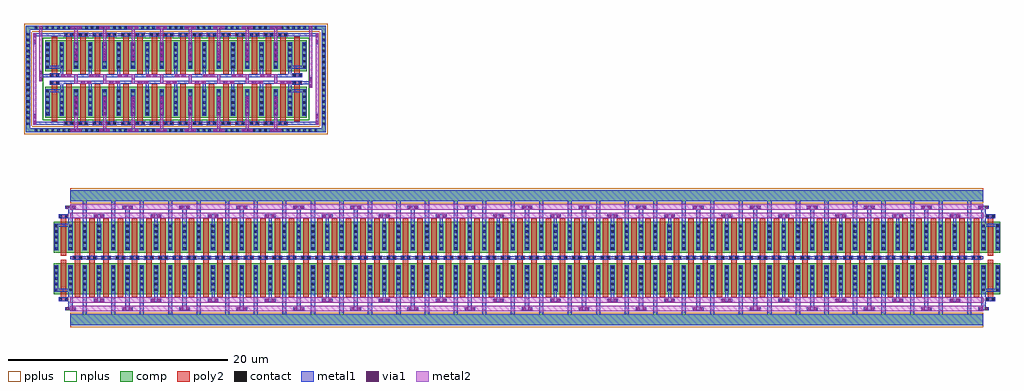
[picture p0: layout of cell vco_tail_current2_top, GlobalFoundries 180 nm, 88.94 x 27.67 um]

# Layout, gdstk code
from math import pi, radians
import gdstk
lib = gdstk.Library(unit=1e-6, precision=5e-09)
def R(c, l, rs):  # rectangles x0, y0, x1, y1
    for r in rs: c.add(gdstk.rectangle(r[:2], r[2:], *l))
def A(c, l, x, y, w, h, nx, ny, dx, dy):  # array of equal rectangles
    R(c, l, [(x+i*dx, y+j*dy, x+i*dx+w, y+j*dy+h) for i in range(nx) for j in range(ny)])
comp = (22, 0)
poly2 = (30, 0)
pplus = (31, 0)
nplus = (32, 0)
contact = (33, 0)
metal1 = (34, 0)
via1 = (35, 0)
metal2 = (36, 0)

vco_tail_current_ncell2_ = lib.new_cell('vco_tail_current_ncell2_1$2$1')
R(vco_tail_current_ncell2_, comp, [(0,0.3,0.42,3.12), (0.42,0.3,1.3,3.12), (1.3,0.3,1.72,3.12)])
R(vco_tail_current_ncell2_, poly2, [(0.61,0,1.11,3.42)])
A(vco_tail_current_ncell2_, contact, 0.1, 0.58, 0.22, 0.22, 1, 5, 0, 0.51)
A(vco_tail_current_ncell2_, contact, 1.4, 0.58, 0.22, 0.22, 1, 5, 0, 0.51)
R(vco_tail_current_ncell2_, metal1, [(0.02,0.5,0.4,2.92), (1.32,0.5,1.7,2.92)])

c_vco_tail_current_ncell2_ = lib.new_cell('vco_tail_current_ncell2_4$1')
A(c_vco_tail_current_ncell2_, poly2, 0.425, 3.42, 0.87, 0.36, 4, 1, 1.3, 0)
R(c_vco_tail_current_ncell2_, contact, [(0.495,3.49,0.715,3.71), (1.005,3.49,1.225,3.71), (1.795,3.49,2.015,3.71), (2.305,3.49,2.525,3.71), (3.095,3.49,3.315,3.71), (3.605,3.49,3.825,3.71), (4.395,3.49,4.615,3.71), (4.905,3.49,5.125,3.71)])
A(c_vco_tail_current_ncell2_, metal1, 0.415, 3.41, 0.89, 0.38, 4, 1, 1.3, 0)
c_vco_tail_current_ncell2_.add(gdstk.Reference(vco_tail_current_ncell2_, (0,0)))
c_vco_tail_current_ncell2_.add(gdstk.Reference(vco_tail_current_ncell2_, (1.3,0)))
c_vco_tail_current_ncell2_.add(gdstk.Reference(vco_tail_current_ncell2_, (2.6,0)))
c_vco_tail_current_ncell2_.add(gdstk.Reference(vco_tail_current_ncell2_, (3.9,0)))

c_vco_tail_current_ncell2__ = lib.new_cell('vco_tail_current_ncell2_4_4')
R(c_vco_tail_current_ncell2__, via1, [(0.1,1.57,0.36,1.83), (0.62,1.57,0.88,1.83), (5.3,1.57,5.56,1.83), (5.82,1.57,6.08,1.83), (2.695,2.35,2.955,2.61), (3.215,2.35,3.475,2.61), (2.695,10.05,2.955,10.31), (3.215,10.05,3.475,10.31), (0.1,10.83,0.36,11.09), (0.62,10.83,0.88,11.09), (5.3,10.83,5.56,11.09), (5.82,10.83,6.08,11.09)])
c_vco_tail_current_ncell2__.add(gdstk.FlexPath([(0,10.96),(0.98,10.96)], 0.28, ends="flush", simple_path=True, layer=34, datatype=0))  # metal1
c_vco_tail_current_ncell2__.add(gdstk.FlexPath([(5.2,10.96),(6.18,10.96)], 0.28, ends="flush", simple_path=True, layer=34, datatype=0))  # metal1
c_vco_tail_current_ncell2__.add(gdstk.FlexPath([(0.485,11.99),(5.685,11.99)], 1, ends="flush", simple_path=True, layer=34, datatype=0))  # metal1
c_vco_tail_current_ncell2__.add(gdstk.FlexPath([(2.595,10.18),(3.575,10.18)], 0.28, ends="flush", simple_path=True, layer=34, datatype=0))  # metal1
c_vco_tail_current_ncell2__.add(gdstk.FlexPath([(3.085,9.43),(3.085,10.04)], 0.28, ends="flush", simple_path=True, layer=34, datatype=0))  # metal1
c_vco_tail_current_ncell2__.add(gdstk.FlexPath([(0.485,9.43),(0.485,10.82)], 0.38, ends="flush", simple_path=True, layer=34, datatype=0))  # metal1
c_vco_tail_current_ncell2__.add(gdstk.FlexPath([(5.685,9.43),(5.685,10.82)], 0.38, ends="flush", simple_path=True, layer=34, datatype=0))  # metal1
c_vco_tail_current_ncell2__.add(gdstk.FlexPath([(1.785,11.49),(1.785,9.43)], 0.38, ends="flush", simple_path=True, layer=34, datatype=0))  # metal1
c_vco_tail_current_ncell2__.add(gdstk.FlexPath([(4.385,11.49),(4.385,9.43)], 0.38, ends="flush", simple_path=True, layer=34, datatype=0))  # metal1
c_vco_tail_current_ncell2__.add(gdstk.FlexPath([(0,1.7),(0.98,1.7)], 0.28, ends="flush", simple_path=True, layer=34, datatype=0))  # metal1
c_vco_tail_current_ncell2__.add(gdstk.FlexPath([(5.2,1.7),(6.18,1.7)], 0.28, ends="flush", simple_path=True, layer=34, datatype=0))  # metal1
c_vco_tail_current_ncell2__.add(gdstk.FlexPath([(0.485,0.67),(5.685,0.67)], 1, ends="flush", simple_path=True, layer=34, datatype=0))  # metal1
c_vco_tail_current_ncell2__.add(gdstk.FlexPath([(2.595,2.48),(3.575,2.48)], 0.28, ends="flush", simple_path=True, layer=34, datatype=0))  # metal1
c_vco_tail_current_ncell2__.add(gdstk.FlexPath([(3.085,3.23),(3.085,2.62)], 0.28, ends="flush", simple_path=True, layer=34, datatype=0))  # metal1
c_vco_tail_current_ncell2__.add(gdstk.FlexPath([(0.485,3.23),(0.485,1.84)], 0.38, ends="flush", simple_path=True, layer=34, datatype=0))  # metal1
c_vco_tail_current_ncell2__.add(gdstk.FlexPath([(5.685,3.23),(5.685,1.84)], 0.38, ends="flush", simple_path=True, layer=34, datatype=0))  # metal1
c_vco_tail_current_ncell2__.add(gdstk.FlexPath([(1.785,1.17),(1.785,3.23)], 0.38, ends="flush", simple_path=True, layer=34, datatype=0))  # metal1
c_vco_tail_current_ncell2__.add(gdstk.FlexPath([(4.385,1.17),(4.385,3.23)], 0.38, ends="flush", simple_path=True, layer=34, datatype=0))  # metal1
c_vco_tail_current_ncell2__.add(gdstk.FlexPath([(5.685,6.33),(0.485,6.33)], 0.28, ends="flush", simple_path=True, layer=34, datatype=0))  # metal1
c_vco_tail_current_ncell2__.add(gdstk.FlexPath([(0.485,11.99),(5.685,11.99)], 1, ends="flush", simple_path=True, layer=22, datatype=0))  # comp
c_vco_tail_current_ncell2__.add(gdstk.FlexPath([(0.485,0.67),(5.685,0.67)], 1, ends="flush", simple_path=True, layer=22, datatype=0))  # comp
c_vco_tail_current_ncell2__.add(gdstk.FlexPath([(0.485,10.18),(5.685,10.18)], 0.5, ends="flush", simple_path=True, layer=36, datatype=0))  # metal2
c_vco_tail_current_ncell2__.add(gdstk.FlexPath([(0.485,2.48),(5.685,2.48)], 0.5, ends="flush", simple_path=True, layer=36, datatype=0))  # metal2
c_vco_tail_current_ncell2__.add(gdstk.FlexPath([(0.485,10.96),(5.685,10.96)], 0.5, ends="flush", simple_path=True, layer=36, datatype=0))  # metal2
c_vco_tail_current_ncell2__.add(gdstk.FlexPath([(0.485,1.7),(5.685,1.7)], 0.5, ends="flush", simple_path=True, layer=36, datatype=0))  # metal2
c_vco_tail_current_ncell2__.add(gdstk.FlexPath([(0.485,11.99),(5.685,11.99)], 1.34, ends="flush", simple_path=True, layer=31, datatype=0))  # pplus
c_vco_tail_current_ncell2__.add(gdstk.FlexPath([(0.485,0.67),(5.685,0.67)], 1.34, ends="flush", simple_path=True, layer=31, datatype=0))  # pplus
c_vco_tail_current_ncell2__.add(gdstk.Reference(c_vco_tail_current_ncell2_, (0.275,2.73)))
c_vco_tail_current_ncell2__.add(gdstk.Reference(c_vco_tail_current_ncell2_, (0.275,9.93), x_reflection=True))

c_vco_tail_current_ncell2___ = lib.new_cell('vco_tail_current_ncell2_1$1')
R(c_vco_tail_current_ncell2___, comp, [(0,0.3,0.42,3.12), (0.42,0.3,1.3,3.12), (1.3,0.3,1.72,3.12)])
R(c_vco_tail_current_ncell2___, poly2, [(0.61,0,1.11,3.42)])
A(c_vco_tail_current_ncell2___, contact, 0.1, 0.58, 0.22, 0.22, 1, 5, 0, 0.51)
A(c_vco_tail_current_ncell2___, contact, 1.4, 0.58, 0.22, 0.22, 1, 5, 0, 0.51)
R(c_vco_tail_current_ncell2___, metal1, [(0.02,0.5,0.4,2.92), (1.32,0.5,1.7,2.92)])

c_vco_tail_current_ncell2____ = lib.new_cell('vco_tail_current_ncell2_1_2')
R(c_vco_tail_current_ncell2____, poly2, [(0.41,0.01,1.28,0.37), (0.41,0.01,1.28,0.37), (0.41,7.57,1.28,7.93), (0.41,7.57,1.28,7.93)])
R(c_vco_tail_current_ncell2____, contact, [(0.48,0.08,0.7,0.3), (0.48,0.08,0.7,0.3), (0.99,0.08,1.21,0.3), (0.99,0.08,1.21,0.3), (0.48,7.64,0.7,7.86), (0.48,7.64,0.7,7.86), (0.99,7.64,1.21,7.86), (0.99,7.64,1.21,7.86)])
R(c_vco_tail_current_ncell2____, metal1, [(0.4,0,1.29,0.38), (0.4,0,1.29,0.38), (0.4,7.56,1.29,7.94), (0.4,7.56,1.29,7.94)])
c_vco_tail_current_ncell2____.add(gdstk.FlexPath([(1.32,1.01),(0.4,1.01)], 0.28, ends="flush", simple_path=True, layer=34, datatype=0))  # metal1
c_vco_tail_current_ncell2____.add(gdstk.FlexPath([(1.32,6.93),(0.4,6.93)], 0.28, ends="flush", simple_path=True, layer=34, datatype=0))  # metal1
c_vco_tail_current_ncell2____.add(gdstk.Reference(c_vco_tail_current_ncell2___, (0,0.37)))
c_vco_tail_current_ncell2____.add(gdstk.Reference(c_vco_tail_current_ncell2___, (0,7.57), x_reflection=True))

d2s_tail_current_ncell_1 = lib.new_cell('d2s_tail_current_ncell_1$2')
R(d2s_tail_current_ncell_1, comp, [(0,0.3,0.42,3.12), (0.42,0.3,1.3,3.12), (1.3,0.3,1.72,3.12)])
R(d2s_tail_current_ncell_1, poly2, [(0.61,0,1.11,3.42)])
A(d2s_tail_current_ncell_1, contact, 0.1, 0.58, 0.22, 0.22, 1, 5, 0, 0.51)
A(d2s_tail_current_ncell_1, contact, 1.4, 0.58, 0.22, 0.22, 1, 5, 0, 0.51)
R(d2s_tail_current_ncell_1, metal1, [(0.02,0.5,0.4,2.92), (1.32,0.5,1.7,2.92)])

c_d2s_tail_current_ncell_1 = lib.new_cell('d2s_tail_current_ncell_1$1$1$1')
R(c_d2s_tail_current_ncell_1, comp, [(0,0.3,0.42,3.12), (0.42,0.3,1.3,3.12), (1.3,0.3,1.72,3.12)])
R(c_d2s_tail_current_ncell_1, poly2, [(0.61,0,1.11,3.42)])
A(c_d2s_tail_current_ncell_1, contact, 0.1, 0.58, 0.22, 0.22, 1, 5, 0, 0.51)
A(c_d2s_tail_current_ncell_1, contact, 1.4, 0.58, 0.22, 0.22, 1, 5, 0, 0.51)
R(c_d2s_tail_current_ncell_1, metal1, [(0.02,0.5,0.4,2.92), (1.32,0.5,1.7,2.92)])

d2s_tail_current_ncell_4 = lib.new_cell('d2s_tail_current_ncell_4$1$1')
A(d2s_tail_current_ncell_4, poly2, 0.425, 3.42, 0.87, 0.36, 4, 1, 1.3, 0)
R(d2s_tail_current_ncell_4, contact, [(0.495,3.49,0.715,3.71), (1.005,3.49,1.225,3.71), (1.795,3.49,2.015,3.71), (2.305,3.49,2.525,3.71), (3.095,3.49,3.315,3.71), (3.605,3.49,3.825,3.71), (4.395,3.49,4.615,3.71), (4.905,3.49,5.125,3.71)])
A(d2s_tail_current_ncell_4, metal1, 0.415, 3.41, 0.89, 0.38, 4, 1, 1.3, 0)
d2s_tail_current_ncell_4.add(gdstk.Reference(c_d2s_tail_current_ncell_1, (0,0)))
d2s_tail_current_ncell_4.add(gdstk.Reference(c_d2s_tail_current_ncell_1, (1.3,0)))
d2s_tail_current_ncell_4.add(gdstk.Reference(c_d2s_tail_current_ncell_1, (2.6,0)))
d2s_tail_current_ncell_4.add(gdstk.Reference(c_d2s_tail_current_ncell_1, (3.9,0)))

c_d2s_tail_current_ncell_4 = lib.new_cell('d2s_tail_current_ncell_4_4$1')
R(c_d2s_tail_current_ncell_4, via1, [(1.12,0.23,1.38,0.49), (1.64,0.23,1.9,0.49), (3.72,0.23,3.98,0.49), (4.24,0.23,4.5,0.49), (1.38,2.52,1.64,2.78), (3.98,2.52,4.24,2.78), (1.38,3.04,1.64,3.3), (3.98,3.04,4.24,3.3), (2.03,4.63,2.29,4.89), (2.55,4.63,2.81,4.89), (4.63,4.63,4.89,4.89), (5.15,4.63,5.41,4.89), (0.21,5.19,0.47,5.45), (0.73,5.19,0.99,5.45), (2.81,5.19,3.07,5.45), (3.33,5.19,3.59,5.45), (1.38,6.78,1.64,7.04), (3.98,6.78,4.24,7.04), (1.38,7.3,1.64,7.56), (3.98,7.3,4.24,7.56), (1.12,9.59,1.38,9.85), (1.64,9.59,1.9,9.85), (3.72,9.59,3.98,9.85), (4.24,9.59,4.5,9.85)])
c_d2s_tail_current_ncell_4.add(gdstk.FlexPath([(1.305,1.02),(5.41,1.02)], 0.28, ends="flush", simple_path=True, layer=34, datatype=0))  # metal1
c_d2s_tail_current_ncell_4.add(gdstk.FlexPath([(2.81,5.96),(2.81,5.46)], 0.28, ends="flush", simple_path=True, layer=34, datatype=0))  # metal1
c_d2s_tail_current_ncell_4.add(gdstk.FlexPath([(0.21,9.72),(5.41,9.72)], 0.38, ends="flush", simple_path=True, layer=34, datatype=0))  # metal1
c_d2s_tail_current_ncell_4.add(gdstk.FlexPath([(2.81,4.12),(2.81,4.62)], 0.28, ends="flush", simple_path=True, layer=34, datatype=0))  # metal1
c_d2s_tail_current_ncell_4.add(gdstk.FlexPath([(0.21,4.12),(0.21,4.62)], 0.28, ends="flush", simple_path=True, layer=34, datatype=0))  # metal1
c_d2s_tail_current_ncell_4.add(gdstk.FlexPath([(0.21,5.96),(0.21,5.46)], 0.28, ends="flush", simple_path=True, layer=34, datatype=0))  # metal1
c_d2s_tail_current_ncell_4.add(gdstk.FlexPath([(2.91,5.32),(1.51,5.32),(1.51,4.76),(0.07,4.76)], 0.28, ends="flush", simple_path=True, layer=34, datatype=0))  # metal1
c_d2s_tail_current_ncell_4.add(gdstk.FlexPath([(1.09,5.32),(0.07,5.32)], 0.28, ends="flush", simple_path=True, layer=34, datatype=0))  # metal1
c_d2s_tail_current_ncell_4.add(gdstk.FlexPath([(5.41,4.12),(5.41,4.62)], 0.28, ends="flush", simple_path=True, layer=34, datatype=0))  # metal1
c_d2s_tail_current_ncell_4.add(gdstk.FlexPath([(5.55,5.32),(4.11,5.32),(4.11,4.76),(2.71,4.76)], 0.28, ends="flush", simple_path=True, layer=34, datatype=0))  # metal1
c_d2s_tail_current_ncell_4.add(gdstk.FlexPath([(3.69,5.32),(2.71,5.32)], 0.28, ends="flush", simple_path=True, layer=34, datatype=0))  # metal1
c_d2s_tail_current_ncell_4.add(gdstk.FlexPath([(5.41,5.96),(5.41,5.46)], 0.28, ends="flush", simple_path=True, layer=34, datatype=0))  # metal1
c_d2s_tail_current_ncell_4.add(gdstk.FlexPath([(2.81,4.12),(2.81,4.62)], 0.28, ends="flush", simple_path=True, layer=34, datatype=0))  # metal1
c_d2s_tail_current_ncell_4.add(gdstk.FlexPath([(5.55,4.76),(4.53,4.76)], 0.28, ends="flush", simple_path=True, layer=34, datatype=0))  # metal1
c_d2s_tail_current_ncell_4.add(gdstk.FlexPath([(2.81,5.96),(2.81,5.46)], 0.28, ends="flush", simple_path=True, layer=34, datatype=0))  # metal1
c_d2s_tail_current_ncell_4.add(gdstk.FlexPath([(2.91,4.76),(1.93,4.76)], 0.28, ends="flush", simple_path=True, layer=34, datatype=0))  # metal1
c_d2s_tail_current_ncell_4.add(gdstk.FlexPath([(1.305,9.06),(5.41,9.06)], 0.28, ends="flush", simple_path=True, layer=34, datatype=0))  # metal1
c_d2s_tail_current_ncell_4.add(gdstk.FlexPath([(0.21,0.36),(5.41,0.36)], 0.38, ends="flush", simple_path=True, layer=34, datatype=0))  # metal1
c_d2s_tail_current_ncell_4.add(gdstk.FlexPath([(0.21,9.72),(5.41,9.72)], 0.38, ends="flush", simple_path=True, layer=22, datatype=0))  # comp
c_d2s_tail_current_ncell_4.add(gdstk.FlexPath([(0.21,0.36),(5.41,0.36)], 0.38, ends="flush", simple_path=True, layer=22, datatype=0))  # comp
c_d2s_tail_current_ncell_4.add(gdstk.FlexPath([(2.91,4.76),(1.51,4.76),(1.51,5.32),(0.11,5.32)], 0.28, ends="flush", simple_path=True, layer=36, datatype=0))  # metal2
c_d2s_tail_current_ncell_4.add(gdstk.FlexPath([(5.51,4.76),(4.11,4.76),(4.11,5.32),(2.71,5.32)], 0.28, ends="flush", simple_path=True, layer=36, datatype=0))  # metal2
c_d2s_tail_current_ncell_4.add(gdstk.FlexPath([(4.11,6.68),(4.11,7.66)], 0.28, ends="flush", simple_path=True, layer=36, datatype=0))  # metal2
c_d2s_tail_current_ncell_4.add(gdstk.FlexPath([(1.51,6.68),(1.51,7.66)], 0.28, ends="flush", simple_path=True, layer=36, datatype=0))  # metal2
c_d2s_tail_current_ncell_4.add(gdstk.FlexPath([(4.11,2.42),(4.11,3.4)], 0.28, ends="flush", simple_path=True, layer=36, datatype=0))  # metal2
c_d2s_tail_current_ncell_4.add(gdstk.FlexPath([(1.51,2.42),(1.51,3.4)], 0.28, ends="flush", simple_path=True, layer=36, datatype=0))  # metal2
c_d2s_tail_current_ncell_4.add(gdstk.FlexPath([(1.02,9.72),(2,9.72)], 0.28, ends="flush", simple_path=True, layer=36, datatype=0))  # metal2
c_d2s_tail_current_ncell_4.add(gdstk.FlexPath([(1.51,7.66),(1.51,9.58)], 0.28, ends="flush", simple_path=True, layer=36, datatype=0))  # metal2
c_d2s_tail_current_ncell_4.add(gdstk.FlexPath([(4.11,7.66),(4.11,9.58)], 0.28, ends="flush", simple_path=True, layer=36, datatype=0))  # metal2
c_d2s_tail_current_ncell_4.add(gdstk.FlexPath([(3.62,9.72),(4.6,9.72)], 0.28, ends="flush", simple_path=True, layer=36, datatype=0))  # metal2
c_d2s_tail_current_ncell_4.add(gdstk.FlexPath([(1.02,0.36),(2,0.36)], 0.28, ends="flush", simple_path=True, layer=36, datatype=0))  # metal2
c_d2s_tail_current_ncell_4.add(gdstk.FlexPath([(1.51,2.42),(1.51,0.5)], 0.28, ends="flush", simple_path=True, layer=36, datatype=0))  # metal2
c_d2s_tail_current_ncell_4.add(gdstk.FlexPath([(4.11,2.42),(4.11,0.5)], 0.28, ends="flush", simple_path=True, layer=36, datatype=0))  # metal2
c_d2s_tail_current_ncell_4.add(gdstk.FlexPath([(3.62,0.36),(4.6,0.36)], 0.28, ends="flush", simple_path=True, layer=36, datatype=0))  # metal2
c_d2s_tail_current_ncell_4.add(gdstk.FlexPath([(0.21,9.72),(5.41,9.72)], 0.72, ends="flush", simple_path=True, layer=31, datatype=0))  # pplus
c_d2s_tail_current_ncell_4.add(gdstk.FlexPath([(0.21,0.36),(5.41,0.36)], 0.72, ends="flush", simple_path=True, layer=31, datatype=0))  # pplus
c_d2s_tail_current_ncell_4.add(gdstk.Reference(d2s_tail_current_ncell_4, (0,5.46)))
c_d2s_tail_current_ncell_4.add(gdstk.Reference(d2s_tail_current_ncell_4, (0,4.62), x_reflection=True))

m1_m2 = lib.new_cell('M1_M2')
R(m1_m2, via1, [(0.1,0.01,0.36,0.27), (0.62,0.01,0.88,0.27)])
m1_m2.add(gdstk.FlexPath([(0,0.14),(0.98,0.14)], 0.28, ends="flush", simple_path=True, layer=34, datatype=0))  # metal1
m1_m2.add(gdstk.FlexPath([(0,0.14),(0.98,0.14)], 0.28, ends="flush", simple_path=True, layer=36, datatype=0))  # metal2

d2s_tail_current_top = lib.new_cell('d2s_tail_current_top')
R(d2s_tail_current_top, poly2, [(2.355,4.53,3.225,4.89), (24.455,4.53,25.325,4.89), (2.355,5.19,3.225,5.55), (24.455,5.19,25.325,5.55)])
R(d2s_tail_current_top, nplus, [(1.69,1.26,25.99,8.82)])
A(d2s_tail_current_top, contact, 0.98, 0.25, 0.22, 0.22, 51, 2, 0.51, 9.36)
A(d2s_tail_current_top, contact, 0.25, 0.85, 0.22, 0.22, 1, 17, 0, 0.51)
A(d2s_tail_current_top, contact, 27.21, 0.85, 0.22, 0.22, 1, 17, 0, 0.51)
R(d2s_tail_current_top, contact, [(2.425,4.6,2.645,4.82), (2.935,4.6,3.155,4.82), (24.525,4.6,24.745,4.82), (25.035,4.6,25.255,4.82), (2.425,5.26,2.645,5.48), (2.935,5.26,3.155,5.48), (24.525,5.26,24.745,5.48), (25.035,5.26,25.255,5.48)])
R(d2s_tail_current_top, metal1, [(2.345,4.52,3.235,4.9), (3.235,4.52,3.3,4.9), (24.38,4.52,24.445,4.9), (24.445,4.52,25.335,4.9), (2.345,5.18,3.235,5.56), (3.235,5.18,3.3,5.56), (24.38,5.18,24.445,5.56), (24.445,5.18,25.335,5.56)])
d2s_tail_current_top.add(gdstk.FlexPath([(24.24,9.72),(27.32,9.72),(27.32,0.36),(24.24,0.36)], 0.38, ends="flush", simple_path=True, layer=34, datatype=0))  # metal1
d2s_tail_current_top.add(gdstk.FlexPath([(3.44,9.72),(0.36,9.72),(0.36,0.36),(3.44,0.36)], 0.38, ends="flush", simple_path=True, layer=34, datatype=0))  # metal1
d2s_tail_current_top.add(gdstk.FlexPath([(13.635,9.06),(14.045,9.06)], 0.28, ends="flush", simple_path=True, layer=34, datatype=0))  # metal1
d2s_tail_current_top.add(gdstk.FlexPath([(13.635,1.02),(14.045,1.02)], 0.28, ends="flush", simple_path=True, layer=34, datatype=0))  # metal1
d2s_tail_current_top.add(gdstk.FlexPath([(25.35,6.1),(24.43,6.1)], 0.28, ends="flush", simple_path=True, layer=34, datatype=0))  # metal1
d2s_tail_current_top.add(gdstk.FlexPath([(25.35,3.98),(24.43,3.98)], 0.28, ends="flush", simple_path=True, layer=34, datatype=0))  # metal1
d2s_tail_current_top.add(gdstk.FlexPath([(2.33,6.1),(3.25,6.1)], 0.28, ends="flush", simple_path=True, layer=34, datatype=0))  # metal1
d2s_tail_current_top.add(gdstk.FlexPath([(2.33,3.98),(3.25,3.98)], 0.28, ends="flush", simple_path=True, layer=34, datatype=0))  # metal1
d2s_tail_current_top.add(gdstk.FlexPath([(2.345,5.32),(1.67,5.32)], 0.28, ends="flush", simple_path=True, layer=34, datatype=0))  # metal1
d2s_tail_current_top.add(gdstk.FlexPath([(24.035,9.06),(26.85,9.06)], 0.28, ends="flush", simple_path=True, layer=34, datatype=0))  # metal1
d2s_tail_current_top.add(gdstk.FlexPath([(24.035,1.02),(26.85,1.02)], 0.28, ends="flush", simple_path=True, layer=34, datatype=0))  # metal1
d2s_tail_current_top.add(gdstk.FlexPath([(3.645,1.02),(0.83,1.02)], 0.28, ends="flush", simple_path=True, layer=34, datatype=0))  # metal1
d2s_tail_current_top.add(gdstk.FlexPath([(3.645,9.06),(0.83,9.06)], 0.28, ends="flush", simple_path=True, layer=34, datatype=0))  # metal1
d2s_tail_current_top.add(gdstk.FlexPath([(25.335,4.71),(26.01,4.71)], 0.28, ends="flush", simple_path=True, layer=34, datatype=0))  # metal1
d2s_tail_current_top.add(gdstk.FlexPath([(24.24,9.72),(27.32,9.72),(27.32,0.36),(24.24,0.36)], 0.38, ends="flush", simple_path=True, layer=22, datatype=0))  # comp
d2s_tail_current_top.add(gdstk.FlexPath([(3.44,9.72),(0.36,9.72),(0.36,0.36),(3.44,0.36)], 0.38, ends="flush", simple_path=True, layer=22, datatype=0))  # comp
d2s_tail_current_top.add(gdstk.FlexPath([(26.15,9.91),(26.15,4.22)], 0.28, ends="flush", simple_path=True, layer=36, datatype=0))  # metal2
d2s_tail_current_top.add(gdstk.FlexPath([(1.53,9.91),(1.53,4.83)], 0.28, ends="flush", simple_path=True, layer=36, datatype=0))  # metal2
d2s_tail_current_top.add(gdstk.FlexPath([(26.71,9.2),(26.71,0.88)], 0.28, ends="flush", simple_path=True, layer=36, datatype=0))  # metal2
d2s_tail_current_top.add(gdstk.FlexPath([(0.97,9.2),(0.97,0.88)], 0.28, ends="flush", simple_path=True, layer=36, datatype=0))  # metal2
d2s_tail_current_top.add(gdstk.FlexPath([(24.24,9.72),(27.32,9.72),(27.32,0.36),(24.24,0.36)], 0.72, ends="flush", simple_path=True, layer=31, datatype=0))  # pplus
d2s_tail_current_top.add(gdstk.FlexPath([(3.44,9.72),(0.36,9.72),(0.36,0.36),(3.44,0.36)], 0.72, ends="flush", simple_path=True, layer=31, datatype=0))  # pplus
d2s_tail_current_top.add(gdstk.Reference(d2s_tail_current_ncell_1, (24.03,5.46)))
d2s_tail_current_top.add(gdstk.Reference(d2s_tail_current_ncell_1, (24.03,1.2)))
d2s_tail_current_top.add(gdstk.Reference(d2s_tail_current_ncell_1, (3.65,5.46), rotation=pi, x_reflection=True))
d2s_tail_current_top.add(gdstk.Reference(d2s_tail_current_ncell_1, (3.65,1.2), rotation=pi, x_reflection=True))
d2s_tail_current_top.add(gdstk.Reference(c_d2s_tail_current_ncell_4, (13.63,0)))
d2s_tail_current_top.add(gdstk.Reference(c_d2s_tail_current_ncell_4, (3.23,0)))
d2s_tail_current_top.add(gdstk.Reference(c_d2s_tail_current_ncell_4, (14.05,10.08), rotation=pi))
d2s_tail_current_top.add(gdstk.Reference(c_d2s_tail_current_ncell_4, (24.45,10.08), rotation=pi))
d2s_tail_current_top.add(gdstk.Reference(m1_m2, (26.85,8.22), rotation=pi/2))
d2s_tail_current_top.add(gdstk.Reference(m1_m2, (26.29,4.22), rotation=pi/2))
d2s_tail_current_top.add(gdstk.Reference(m1_m2, (0.83,1.86), rotation=3*pi/2))
d2s_tail_current_top.add(gdstk.Reference(m1_m2, (0.83,8.22), rotation=pi/2, x_reflection=True))
d2s_tail_current_top.add(gdstk.Reference(m1_m2, (1.39,4.83), rotation=pi/2, x_reflection=True))
d2s_tail_current_top.add(gdstk.Reference(m1_m2, (26.85,1.86), rotation=3*pi/2, x_reflection=True))

vco_tail_current2_top = lib.new_cell('vco_tail_current2_top')
vco_tail_current2_top.add(gdstk.Reference(c_vco_tail_current_ncell2__, (10.015,16.145)))
vco_tail_current2_top.add(gdstk.Reference(c_vco_tail_current_ncell2__, (15.215,16.145)))
vco_tail_current2_top.add(gdstk.Reference(c_vco_tail_current_ncell2__, (20.415,16.145)))
vco_tail_current2_top.add(gdstk.Reference(c_vco_tail_current_ncell2__, (25.615,16.145)))
vco_tail_current2_top.add(gdstk.Reference(c_vco_tail_current_ncell2__, (30.815,16.145)))
vco_tail_current2_top.add(gdstk.Reference(c_vco_tail_current_ncell2__, (36.015,16.145)))
vco_tail_current2_top.add(gdstk.Reference(c_vco_tail_current_ncell2__, (41.215,16.145)))
vco_tail_current2_top.add(gdstk.Reference(c_vco_tail_current_ncell2__, (46.415,16.145)))
vco_tail_current2_top.add(gdstk.Reference(c_vco_tail_current_ncell2__, (51.615,16.145)))
vco_tail_current2_top.add(gdstk.Reference(c_vco_tail_current_ncell2__, (56.815,16.145)))
vco_tail_current2_top.add(gdstk.Reference(c_vco_tail_current_ncell2__, (62.015,16.145)))
vco_tail_current2_top.add(gdstk.Reference(c_vco_tail_current_ncell2__, (67.215,16.145)))
vco_tail_current2_top.add(gdstk.Reference(c_vco_tail_current_ncell2__, (72.415,16.145)))
vco_tail_current2_top.add(gdstk.Reference(c_vco_tail_current_ncell2__, (77.615,16.145)))
vco_tail_current2_top.add(gdstk.Reference(c_vco_tail_current_ncell2__, (82.815,16.145)))
vco_tail_current2_top.add(gdstk.Reference(c_vco_tail_current_ncell2__, (88.015,16.145)))
vco_tail_current2_top.add(gdstk.Reference(c_vco_tail_current_ncell2____, (10.71,18.505), rotation=pi, x_reflection=True))
vco_tail_current2_top.add(gdstk.Reference(c_vco_tail_current_ncell2____, (93.49,18.505)))
vco_tail_current2_top.add(gdstk.Reference(d2s_tail_current_top, (6.27,33.735)))

lib.write_gds('vco_tail_current2_top.gds')
